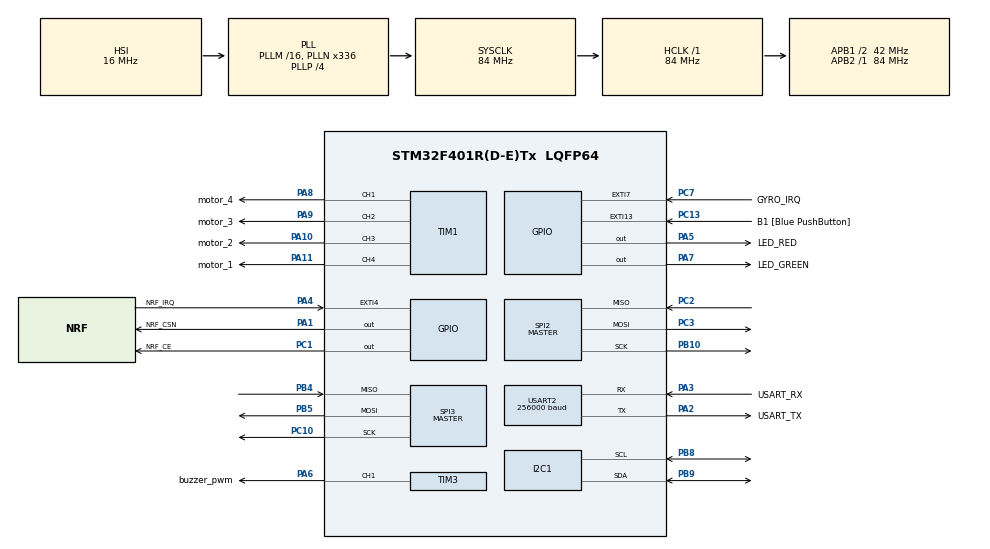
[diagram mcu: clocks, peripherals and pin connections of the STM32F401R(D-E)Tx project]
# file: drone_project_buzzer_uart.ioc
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Mcu.Family=STM32F4
Mcu.Name=STM32F401R(D-E)Tx
Mcu.Package=LQFP64
NVIC.PriorityGroup=NVIC_PRIORITYGROUP_0
NVIC.USART2_IRQn=true\:0\:0\:false\:false\:true\:true\:true\:true
PA1.GPIO_Label=NRF_CSN
PA1.Signal=GPIO_Output
PA10.GPIO_Label=motor_2
PA10.Signal=S_TIM1_CH3
PA11.GPIO_Label=motor_1
PA11.Signal=S_TIM1_CH4
PA13.GPIO_Label=TMS
PA13.Signal=SYS_JTMS-SWDIO
PA14.GPIO_Label=TCK
PA14.Signal=SYS_JTCK-SWCLK
PA2.GPIO_Label=USART_TX
PA2.GPIO_Mode=GPIO_MODE_AF_PP
PA2.GPIO_PuPd=GPIO_NOPULL
PA2.GPIO_Speed=GPIO_SPEED_FREQ_LOW
PA2.Mode=Asynchronous
PA2.Signal=USART2_TX
PA3.GPIO_Label=USART_RX
PA3.GPIO_Mode=GPIO_MODE_AF_PP
PA3.GPIO_PuPd=GPIO_NOPULL
PA3.GPIO_Speed=GPIO_SPEED_FREQ_LOW
PA3.Mode=Asynchronous
PA3.Signal=USART2_RX
PA4.GPIO_Label=NRF_IRQ
PA4.Signal=GPXTI4
PA5.GPIO_Label=LED_RED
PA5.GPIO_Mode=GPIO_MODE_OUTPUT_PP
PA5.GPIO_PuPd=GPIO_NOPULL
PA5.GPIO_Speed=GPIO_SPEED_FREQ_LOW
PA5.Signal=GPIO_Output
PA6.GPIO_Label=buzzer_pwm
PA6.Signal=S_TIM3_CH1
PA7.GPIO_Label=LED_GREEN
PA7.Signal=GPIO_Output
PA8.GPIO_Label=motor_4
PA8.Signal=S_TIM1_CH1
PA9.GPIO_Label=motor_3
PA9.Signal=S_TIM1_CH2
PB10.Mode=Full_Duplex_Master
PB10.Signal=SPI2_SCK
PB3.GPIO_Label=SWO
PB3.Signal=SYS_JTDO-SWO
PB4.Mode=Full_Duplex_Master
PB4.Signal=SPI3_MISO
PB5.Mode=Full_Duplex_Master
PB5.Signal=SPI3_MOSI
PB8.Mode=I2C
PB8.Signal=I2C1_SCL
PB9.Mode=I2C
PB9.Signal=I2C1_SDA
PC1.GPIO_Label=NRF_CE
PC1.Signal=GPIO_Output
PC10.Mode=Full_Duplex_Master
PC10.Signal=SPI3_SCK
PC13-ANTI_TAMP.GPIO_Label=B1 [Blue PushButton]
PC13-ANTI_TAMP.GPIO_ModeDefaultEXTI=GPIO_MODE_IT_FALLING
PC13-ANTI_TAMP.GPIO_PuPd=GPIO_NOPULL
PC13-ANTI_TAMP.Signal=GPXTI13
PC14-OSC32_IN.Signal=RCC_OSC32_IN
PC15-OSC32_OUT.Signal=RCC_OSC32_OUT
PC2.Mode=Full_Duplex_Master
PC2.Signal=SPI2_MISO
PC3.Mode=Full_Duplex_Master
PC3.Signal=SPI2_MOSI
PC7.GPIO_Label=GYRO_IRQ
PC7.Signal=GPXTI7
PH0\ -\ OSC_IN.Signal=RCC_OSC_IN
PH1\ -\ OSC_OUT.Signal=RCC_OSC_OUT
ProjectManager.HeapSize=0x200
ProjectManager.StackSize=0x400
ProjectManager.TargetToolchain=STM32CubeIDE
RCC.AHBFreq_Value=84000000
RCC.APB1CLKDivider=RCC_HCLK_DIV2
RCC.APB1Freq_Value=42000000
RCC.APB1TimFreq_Value=84000000
RCC.APB2Freq_Value=84000000
RCC.APB2TimFreq_Value=84000000
RCC.CortexFreq_Value=84000000
RCC.HCLKFreq_Value=84000000
RCC.HSE_VALUE=8000000
RCC.HSI_VALUE=16000000
RCC.LSE_VALUE=32768
RCC.PLLN=336
RCC.PLLP=RCC_PLLP_DIV4
RCC.PLLQ=7
RCC.SYSCLKFreq_VALUE=84000000
RCC.SYSCLKSource=RCC_SYSCLKSOURCE_PLLCLK
RCC.VCOOutputFreq_Value=336000000
SH.S_TIM1_CH1.0=TIM1_CH1,PWM Generation1 CH1
SH.S_TIM1_CH2.0=TIM1_CH2,PWM Generation2 CH2
SH.S_TIM1_CH3.0=TIM1_CH3,PWM Generation3 CH3
SH.S_TIM1_CH4.0=TIM1_CH4,PWM Generation4 CH4
SH.S_TIM3_CH1.0=TIM3_CH1,PWM Generation1 CH1
SPI2.Direction=SPI_DIRECTION_2LINES
SPI2.Mode=SPI_MODE_MASTER
SPI2.VirtualType=VM_MASTER
SPI3.Direction=SPI_DIRECTION_2LINES
SPI3.Mode=SPI_MODE_MASTER
SPI3.VirtualType=VM_MASTER
TIM1.Channel-PWM\ Generation1\ CH1=TIM_CHANNEL_1
TIM1.Channel-PWM\ Generation2\ CH2=TIM_CHANNEL_2
TIM1.Channel-PWM\ Generation3\ CH3=TIM_CHANNEL_3
TIM1.Channel-PWM\ Generation4\ CH4=TIM_CHANNEL_4
TIM3.AutoReloadPreload=TIM_AUTORELOAD_PRELOAD_ENABLE
TIM3.Channel-PWM\ Generation1\ CH1=TIM_CHANNEL_1
TIM3.Period=21
TIM3.Prescaler=999
TIM3.Pulse-PWM\ Generation1\ CH1=11
USART2.BaudRate=256000
USART2.VirtualMode=VM_ASYNC
VP_TIM3_VS_ClockSourceINT.Mode=Internal
board=NUCLEO-F401RE

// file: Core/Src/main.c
/* USER CODE BEGIN Header */
/**
  ******************************************************************************
  * @file           : main.c
  * @brief          : Main program body
  ******************************************************************************
  * @attention
  *
  * Copyright (c) 2024 STMicroelectronics.
  * All rights reserved.
  *
  * This software is licensed under terms that can be found in the LICENSE file
  * in the root directory of this software component.
  * If no LICENSE file comes with this software, it is provided AS-IS.
  *
  ******************************************************************************
  */
/* USER CODE END Header */
#include "main.h"
#include "i2c.h"
#include "spi.h"
#include "tim.h"
#include "usart.h"
#include "gpio.h"

/* USER CODE BEGIN Includes */
#include <stdio.h>
/* USER CODE END Includes */

/* USER CODE BEGIN PV */
uint16_t usart_data_req = 0 ;
uint8_t usart_rx_data  = 0;
/* USER CODE END PV */

void SystemClock_Config(void);

/* USER CODE BEGIN 0 */

int __io_putchar(int ch){
	while( !(LL_USART_IsActiveFlag_TXE(USART2))) ;
 LL_USART_TransmitData8(USART2, ch) ;
return ch ;
}

/* USER CODE END 0 */

int main(void)
{

  /* MCU Configuration--------------------------------------------------------*/

  /* Reset of all peripherals, Initializes the Flash interface and the Systick. */
  HAL_Init();

  /* Configure the system clock */
  SystemClock_Config();

  /* Initialize all configured peripherals */
  MX_GPIO_Init();
  MX_SPI2_Init();
  MX_I2C1_Init();
  MX_SPI3_Init();
  MX_TIM1_Init();
  MX_TIM3_Init();
  MX_USART2_UART_Init();
  /* USER CODE BEGIN 2 */

  LL_TIM_EnableCounter(TIM3);
  LL_TIM_CC_EnableChannel(TIM3, LL_TIM_CHANNEL_CH1);
  HAL_Delay(100) ;
  LL_TIM_SetAutoReload(TIM3, 40) ;
  HAL_Delay(100) ;
  LL_TIM_SetAutoReload(TIM3, 45) ;
  HAL_Delay(100) ;
  LL_TIM_SetAutoReload(TIM3, 50) ;
  HAL_Delay(100) ;
  LL_TIM_SetAutoReload(TIM3, 21) ;
  HAL_Delay(100) ;
  LL_TIM_CC_DisableChannel(TIM3, LL_TIM_CHANNEL_CH1) ;

  LL_USART_EnableIT_RXNE(USART2) ;

  /* USER CODE END 2 */

  /* Infinite loop */
  while (1)
  {

	  /* USER CODE BEGIN 3 */

//	  LL_GPIO_TogglePin(LED_RED_GPIO_Port, LED_RED_Pin | LED_GREEN_Pin);

	  LL_GPIO_SetOutputPin(LED_RED_GPIO_Port, LED_RED_Pin);
	  HAL_Delay(100);
	  LL_GPIO_ResetOutputPin(LED_RED_GPIO_Port, LED_RED_Pin) ;
	  HAL_Delay(100);

	  if (usart_data_req == 1 ) {
		usart_data_req = 0  ;
		usart_rx_data = LL_USART_ReceiveData8(USART2);
        LL_USART_TransmitData8(USART2, usart_rx_data) ;

        switch (usart_rx_data) {
			case '0':
		         LL_GPIO_TogglePin(LED_RED_GPIO_Port, LED_RED_Pin | LED_GREEN_Pin);
				break;
			case '1':
				 LL_TIM_CC_EnableChannel(TIM3, LL_TIM_CHANNEL_CH1);
				break;
			case '2':
				 LL_TIM_CC_DisableChannel(TIM3, LL_TIM_CHANNEL_CH1);
				break;
       }
	}

  }

  /* USER CODE END 3 */
}

void SystemClock_Config(void)
{
  RCC_OscInitTypeDef RCC_OscInitStruct = {0};
  RCC_ClkInitTypeDef RCC_ClkInitStruct = {0};

  /** Configure the main internal regulator output voltage
  */
  __HAL_RCC_PWR_CLK_ENABLE();
  __HAL_PWR_VOLTAGESCALING_CONFIG(PWR_REGULATOR_VOLTAGE_SCALE2);

  /** Initializes the RCC Oscillators according to the specified parameters
  * in the RCC_OscInitTypeDef structure.
  */
  RCC_OscInitStruct.OscillatorType = RCC_OSCILLATORTYPE_HSI;
  RCC_OscInitStruct.HSIState = RCC_HSI_ON;
  RCC_OscInitStruct.HSICalibrationValue = RCC_HSICALIBRATION_DEFAULT;
  RCC_OscInitStruct.PLL.PLLState = RCC_PLL_ON;
  RCC_OscInitStruct.PLL.PLLSource = RCC_PLLSOURCE_HSI;
  RCC_OscInitStruct.PLL.PLLM = 16;
  RCC_OscInitStruct.PLL.PLLN = 336;
  RCC_OscInitStruct.PLL.PLLP = RCC_PLLP_DIV4;
  RCC_OscInitStruct.PLL.PLLQ = 7;
  if (HAL_RCC_OscConfig(&RCC_OscInitStruct) != HAL_OK)
  {
    Error_Handler();
  }

  /** Initializes the CPU, AHB and APB buses clocks
  */
  RCC_ClkInitStruct.ClockType = RCC_CLOCKTYPE_HCLK|RCC_CLOCKTYPE_SYSCLK
                              |RCC_CLOCKTYPE_PCLK1|RCC_CLOCKTYPE_PCLK2;
  RCC_ClkInitStruct.SYSCLKSource = RCC_SYSCLKSOURCE_PLLCLK;
  RCC_ClkInitStruct.AHBCLKDivider = RCC_SYSCLK_DIV1;
  RCC_ClkInitStruct.APB1CLKDivider = RCC_HCLK_DIV2;
  RCC_ClkInitStruct.APB2CLKDivider = RCC_HCLK_DIV1;

  if (HAL_RCC_ClockConfig(&RCC_ClkInitStruct, FLASH_LATENCY_2) != HAL_OK)
  {
    Error_Handler();
  }
}

void Error_Handler(void)
{
  __disable_irq();
  while (1)
  {
  }
}
